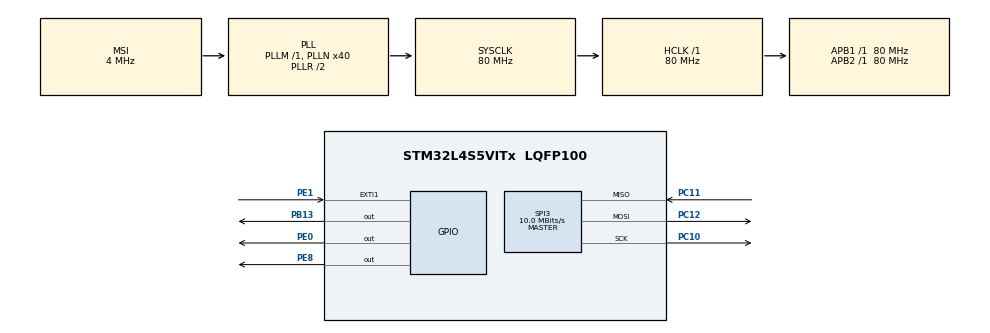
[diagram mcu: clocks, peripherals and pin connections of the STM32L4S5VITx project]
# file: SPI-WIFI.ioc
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Mcu.Family=STM32L4
Mcu.Name=STM32L4S5VITx
Mcu.Package=LQFP100
NVIC.EXTI1_IRQn=true\:0\:0\:false\:false\:true\:true\:true\:true
NVIC.PriorityGroup=NVIC_PRIORITYGROUP_4
NVIC.SPI3_IRQn=true\:0\:0\:false\:false\:true\:true\:true\:true
PB13.Signal=GPIO_Output
PC10.Mode=Full_Duplex_Master
PC10.Signal=SPI3_SCK
PC11.Mode=Full_Duplex_Master
PC11.Signal=SPI3_MISO
PC12.Mode=Full_Duplex_Master
PC12.Signal=SPI3_MOSI
PE0.Signal=GPIO_Output
PE1.Signal=GPXTI1
PE8.Signal=GPIO_Output
ProjectManager.HeapSize=0x200
ProjectManager.StackSize=0x400
ProjectManager.TargetToolchain=STM32CubeIDE
RCC.ADCFreq_Value=48000000
RCC.AHBFreq_Value=80000000
RCC.APB1Freq_Value=80000000
RCC.APB1TimFreq_Value=80000000
RCC.APB2Freq_Value=80000000
RCC.APB2TimFreq_Value=80000000
RCC.CortexFreq_Value=80000000
RCC.HCLKFreq_Value=80000000
RCC.HSE_VALUE=8000000
RCC.HSI48_VALUE=48000000
RCC.HSI_VALUE=16000000
RCC.MSI_VALUE=4000000
RCC.PLLN=40
RCC.PLLSAI1N=24
RCC.SYSCLKFreq_VALUE=80000000
RCC.SYSCLKSource=RCC_SYSCLKSOURCE_PLLCLK
RCC.USBFreq_Value=48000000
RCC.VCOOutputFreq_Value=160000000
SPI3.BaudRatePrescaler=SPI_BAUDRATEPRESCALER_8
SPI3.CalculateBaudRate=10.0 MBits/s
SPI3.DataSize=SPI_DATASIZE_16BIT
SPI3.Direction=SPI_DIRECTION_2LINES
SPI3.Mode=SPI_MODE_MASTER
SPI3.VirtualType=VM_MASTER
board=B-L4S5I-IOT01A

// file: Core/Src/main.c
/* USER CODE BEGIN Header */
/**
  ******************************************************************************
  * @file           : main.c
  * @brief          : Main program body
  ******************************************************************************
  * @attention
  *
  * Copyright (c) 2026 STMicroelectronics.
  * All rights reserved.
  *
  * This software is licensed under terms that can be found in the LICENSE file
  * in the root directory of this software component.
  * If no LICENSE file comes with this software, it is provided AS-IS.
  *
  ******************************************************************************
  */
/* USER CODE END Header */
#include "main.h"

/* USER CODE BEGIN Includes */
#include "es_wifi.h"
#include "es_wifi_io.h"

/* USER CODE END Includes */

/* USER CODE BEGIN PTD */
ES_WIFI_Status_t status;
ES_WIFIObject_t WiFiObj;

/* USER CODE END PTD */

/* USER CODE BEGIN PD */
#define WIFI_SSID       "Galaxy"
#define WIFI_PASSWORD   "1234567890"
/* USER CODE END PD */

/* USER CODE BEGIN PM */
static void PrintNetworkSettings(void)
{
    printf("\r\n");
    printf("========================================\r\n");
    printf("        NETWORK SETTINGS\r\n");
    printf("========================================\r\n");

    printf("IP Address : %d.%d.%d.%d\r\n",
           WiFiObj.NetSettings.IP_Addr[0],
           WiFiObj.NetSettings.IP_Addr[1],
           WiFiObj.NetSettings.IP_Addr[2],
           WiFiObj.NetSettings.IP_Addr[3]);

    printf("Subnet Mask: %d.%d.%d.%d\r\n",
           WiFiObj.NetSettings.IP_Mask[0],
           WiFiObj.NetSettings.IP_Mask[1],
           WiFiObj.NetSettings.IP_Mask[2],
           WiFiObj.NetSettings.IP_Mask[3]);

    printf("Gateway    : %d.%d.%d.%d\r\n",
           WiFiObj.NetSettings.Gateway_Addr[0],
           WiFiObj.NetSettings.Gateway_Addr[1],
           WiFiObj.NetSettings.Gateway_Addr[2],
           WiFiObj.NetSettings.Gateway_Addr[3]);

    printf("DNS1       : %d.%d.%d.%d\r\n",
           WiFiObj.NetSettings.DNS1[0],
           WiFiObj.NetSettings.DNS1[1],
           WiFiObj.NetSettings.DNS1[2],
           WiFiObj.NetSettings.DNS1[3]);

    printf("========================================\r\n");
}
/* USER CODE END PM */

SPI_HandleTypeDef hspi3;

void SystemClock_Config(void);
static void MX_GPIO_Init(void);
static void MX_SPI3_Init(void);
/* USER CODE BEGIN PFP */
int __io_putchar(int ch)
{
    ITM_SendChar(ch);
    return ch;
}
/* USER CODE END PFP */

int main(void)
{

  /* MCU Configuration--------------------------------------------------------*/

  /* Reset of all peripherals, Initializes the Flash interface and the Systick. */
  HAL_Init();

  /* Configure the system clock */
  SystemClock_Config();

  /* Initialize all configured peripherals */

  MX_SPI3_Init();
  /* USER CODE BEGIN 2 */
  MX_GPIO_Init();

  printf("\r\n");

      /* =========================================================
         STEP 1
         Register low-level SPI/GPIO interface
         ========================================================= */

      ES_WIFI_Status_t status;

      status = ES_WIFI_RegisterBusIO(
                  &WiFiObj,
                  SPI_WIFI_Init,
                  SPI_WIFI_DeInit,
                  SPI_WIFI_Delay,
                  SPI_WIFI_SendData,
                  SPI_WIFI_ReceiveData
               );

      if (status != ES_WIFI_STATUS_OK)
      {
          printf("ERROR: ES_WIFI_RegisterBusIO failed\r\n");

          while (1)
          {
          }
      }

      printf("Bus interface registered\r\n");

      /* =========================================================
         STEP 2
         Initialize ISM43362
         ========================================================= */

      status = ES_WIFI_Init(&WiFiObj);

      if (status != ES_WIFI_STATUS_OK)
      {
          printf("ERROR: ES_WIFI_Init failed\r\n");

          while (1)
          {
          }
      }

      printf("ES_WIFI_Init SUCCESS\r\n");

      /* =========================================================
         STEP 3
         Scan Wi-Fi networks
         ========================================================= */

      ES_WIFI_APs_t APs;

      memset(&APs, 0, sizeof(APs));

      printf("\r\nScanning Wi-Fi networks...\r\n");

      status = ES_WIFI_ListAccessPoints(
                  &WiFiObj,
                  &APs
               );

      if (status != ES_WIFI_STATUS_OK)
      {
          printf("ERROR: Wi-Fi scan failed\r\n");

          while (1)
          {
          }
      }

      /* =========================================================
         STEP 4
         Print discovered APs
         ========================================================= */

      printf("\r\nWi-Fi scan SUCCESS\r\n");

      printf("APs found: %d\r\n\r\n", APs.nbr);

      for (uint8_t i = 0; i < APs.nbr; i++)
      {
          printf(
              "[%d] SSID: %s\r\n",
              i + 1,
              APs.AP[i].SSID
          );

          printf(
              "    RSSI: %d dBm\r\n",
              APs.AP[i].RSSI
          );

          printf(
              "    Channel: %d\r\n",
              APs.AP[i].Channel
          );

          printf(
              "    Security: %d\r\n",
              APs.AP[i].Security
          );

          printf("\r\n");
      }

      printf("\r\nConnecting to: %s\r\n", WIFI_SSID);

          status = ES_WIFI_Connect(
                      &WiFiObj,
                      WIFI_SSID,
                      WIFI_PASSWORD,
                      ES_WIFI_SEC_WPA2
                   );

          if (status != ES_WIFI_STATUS_OK)
          {
              printf("Wi-Fi CONNECTION FAILED\r\n");

              while (1);
          }

          printf("Wi-Fi CONNECT command SUCCESS\r\n");

          /* =====================================================
             5. Verify connection
             ===================================================== */

          if (ES_WIFI_IsConnected(&WiFiObj))
          {
              printf("Wi-Fi CONNECTED!\r\n");
          }
          else
          {
              printf("Wi-Fi NOT CONNECTED\r\n");

              while (1);
          }

          printf("\r\nGetting DHCP/network information...\r\n");

          status = ES_WIFI_GetNetworkSettings(&WiFiObj);

          if (status != ES_WIFI_STATUS_OK)
          {
              printf("ERROR: GetNetworkSettings failed\r\n");

              while (1);
          }

          printf("Network settings obtained\r\n");

          PrintNetworkSettings();

          /* ============================================
             VERIFY IP ADDRESS
             ============================================ */

          uint8_t ipaddr[4];

          status = ES_WIFI_GetIPAddress(
                      &WiFiObj,
                      ipaddr,
                      sizeof(ipaddr)
                   );

          if (status != ES_WIFI_STATUS_OK)
          {
              printf("ERROR: GetIPAddress failed\r\n");

              while (1);
          }

          printf("\r\nIP Address verification:\r\n");

          printf("%d.%d.%d.%d\r\n",
                 ipaddr[0],
                 ipaddr[1],
                 ipaddr[2],
                 ipaddr[3]);

          /* ============================================================
             MILESTONE 4 - TCP CLIENT
             ============================================================ */

          printf("\r\n");
          printf("========================================\r\n");
          printf("          MILESTONE 4 - TCP\r\n");
          printf("========================================\r\n");

          /* Laptop IP address */
          uint8_t server_ip[4] =
          {
              10,
              80,
              70,
              214
          };

          /* ------------------------------------------------------------
             Create TCP connection
             ------------------------------------------------------------ */

          ES_WIFI_Conn_t http_conn;

          memset(&http_conn, 0, sizeof(http_conn));

          http_conn.Type = ES_WIFI_TCP_CONNECTION;

          http_conn.TLScheckMode = ES_WIFI_TLS_CHECK_NOTHING;

          http_conn.Number = 0;

          http_conn.RemoteIP[0] = server_ip[0];
          http_conn.RemoteIP[1] = server_ip[1];
          http_conn.RemoteIP[2] = server_ip[2];
          http_conn.RemoteIP[3] = server_ip[3];

          http_conn.RemotePort = 8080;

          http_conn.LocalPort = 0;

          http_conn.Name = NULL;

          http_conn.Backlog = 0;

          printf(
              "Connecting to HTTP server %d.%d.%d.%d:%d\r\n",
              http_conn.RemoteIP[0],
              http_conn.RemoteIP[1],
              http_conn.RemoteIP[2],
              http_conn.RemoteIP[3],
              http_conn.RemotePort
          );

          /* ============================================================
             Start TCP connection
             ============================================================ */

          status = ES_WIFI_StartClientConnection(
                      &WiFiObj,
                      &http_conn
                   );

          if (status != ES_WIFI_STATUS_OK)
          {
              printf("TCP CONNECTION FAILED\r\n");

              while (1);
          }

          printf("TCP CONNECTION SUCCESS\r\n");

          /* ============================================================
             SEND DATA
             ============================================================ */

          char http_request[] =
              "GET / HTTP/1.1\r\n"
              "Host: 10.80.70.214\r\n"
              "Connection: close\r\n"
              "\r\n";

          uint16_t sent_len = 0;

          printf("\r\nSending HTTP GET...\r\n");

          printf("----------------------------------------\r\n");
          printf("%s", http_request);
          printf("----------------------------------------\r\n");

          status = ES_WIFI_SendData(
                      &WiFiObj,
                      http_conn.Number,
                      (uint8_t *)http_request,
                      strlen(http_request),
                      &sent_len,
                      5000
                   );

          if (status != ES_WIFI_STATUS_OK)
          {
              printf("HTTP REQUEST FAILED\r\n");

              while (1);
          }

          printf("HTTP REQUEST SENT\r\n");
          printf("Bytes sent: %d\r\n", sent_len);

          /* ------------------------------------------------------------
             RECEIVE HTTP RESPONSE
             ------------------------------------------------------------ */

          uint8_t rx_buffer[512];
          uint16_t received_len = 0;

          memset(rx_buffer, 0, sizeof(rx_buffer));

          printf("\r\nWaiting for HTTP response...\r\n");

          status = ES_WIFI_ReceiveData(
                      &WiFiObj,
                      http_conn.Number,
                      rx_buffer,
                      sizeof(rx_buffer) - 1,
                      &received_len,
                      10000
                   );

          printf("Receive status = %d\r\n", status);
          printf("Received length = %d\r\n", received_len);

          if (status == ES_WIFI_STATUS_OK)
          {
              rx_buffer[received_len] = '\0';

              printf("\r\n========== HTTP RESPONSE ==========\r\n");
              printf("%s\r\n", rx_buffer);
              printf("===================================\r\n");
          }
          else
          {
              printf("HTTP RESPONSE FAILED\r\n");
          }

          /* ------------------------------------------------------------
             CLOSE TCP CONNECTION
             ------------------------------------------------------------ */

          status = ES_WIFI_StopClientConnection(
                      &WiFiObj,
                      &http_conn
                   );

          if (status == ES_WIFI_STATUS_OK)
          {
              printf("HTTP TCP connection closed\r\n");
          }

          printf("\r\n");
          printf("========================================\r\n");
          printf("       MILESTONE 5 COMPLETE\r\n");
          printf("========================================\r\n");
  /* USER CODE END 2 */

  /* Infinite loop */
  while (1)
  {

  }
}

void SystemClock_Config(void)
{
  RCC_OscInitTypeDef RCC_OscInitStruct = {0};
  RCC_ClkInitTypeDef RCC_ClkInitStruct = {0};

  /** Configure the main internal regulator output voltage
  */
  if (HAL_PWREx_ControlVoltageScaling(PWR_REGULATOR_VOLTAGE_SCALE1) != HAL_OK)
  {
    Error_Handler();
  }

  /** Initializes the RCC Oscillators according to the specified parameters
  * in the RCC_OscInitTypeDef structure.
  */
  RCC_OscInitStruct.OscillatorType = RCC_OSCILLATORTYPE_MSI;
  RCC_OscInitStruct.MSIState = RCC_MSI_ON;
  RCC_OscInitStruct.MSICalibrationValue = 0;
  RCC_OscInitStruct.MSIClockRange = RCC_MSIRANGE_6;
  RCC_OscInitStruct.PLL.PLLState = RCC_PLL_ON;
  RCC_OscInitStruct.PLL.PLLSource = RCC_PLLSOURCE_MSI;
  RCC_OscInitStruct.PLL.PLLM = 1;
  RCC_OscInitStruct.PLL.PLLN = 40;
  RCC_OscInitStruct.PLL.PLLP = RCC_PLLP_DIV2;
  RCC_OscInitStruct.PLL.PLLQ = RCC_PLLQ_DIV2;
  RCC_OscInitStruct.PLL.PLLR = RCC_PLLR_DIV2;
  if (HAL_RCC_OscConfig(&RCC_OscInitStruct) != HAL_OK)
  {
    Error_Handler();
  }

  /** Initializes the CPU, AHB and APB buses clocks
  */
  RCC_ClkInitStruct.ClockType = RCC_CLOCKTYPE_HCLK|RCC_CLOCKTYPE_SYSCLK
                              |RCC_CLOCKTYPE_PCLK1|RCC_CLOCKTYPE_PCLK2;
  RCC_ClkInitStruct.SYSCLKSource = RCC_SYSCLKSOURCE_PLLCLK;
  RCC_ClkInitStruct.AHBCLKDivider = RCC_SYSCLK_DIV1;
  RCC_ClkInitStruct.APB1CLKDivider = RCC_HCLK_DIV1;
  RCC_ClkInitStruct.APB2CLKDivider = RCC_HCLK_DIV1;

  if (HAL_RCC_ClockConfig(&RCC_ClkInitStruct, FLASH_LATENCY_3) != HAL_OK)
  {
    Error_Handler();
  }
}

static void MX_SPI3_Init(void)
{

  /* SPI3 parameter configuration*/
  hspi3.Instance = SPI3;
  hspi3.Init.Mode = SPI_MODE_MASTER;
  hspi3.Init.Direction = SPI_DIRECTION_2LINES;
  hspi3.Init.DataSize = SPI_DATASIZE_16BIT;
  hspi3.Init.CLKPolarity = SPI_POLARITY_LOW;
  hspi3.Init.CLKPhase = SPI_PHASE_1EDGE;
  hspi3.Init.NSS = SPI_NSS_SOFT;
  hspi3.Init.BaudRatePrescaler = SPI_BAUDRATEPRESCALER_8;
  hspi3.Init.FirstBit = SPI_FIRSTBIT_MSB;
  hspi3.Init.TIMode = SPI_TIMODE_DISABLE;
  hspi3.Init.CRCCalculation = SPI_CRCCALCULATION_DISABLE;
  hspi3.Init.CRCPolynomial = 7;
  hspi3.Init.CRCLength = SPI_CRC_LENGTH_DATASIZE;
  hspi3.Init.NSSPMode = SPI_NSS_PULSE_ENABLE;
  if (HAL_SPI_Init(&hspi3) != HAL_OK)
  {
    Error_Handler();
  }

}

static void MX_GPIO_Init(void)
{
  GPIO_InitTypeDef GPIO_InitStruct = {0};

  /* GPIO Ports Clock Enable */
  __HAL_RCC_GPIOE_CLK_ENABLE();
  __HAL_RCC_GPIOB_CLK_ENABLE();
  __HAL_RCC_GPIOC_CLK_ENABLE();

  /*Configure GPIO pin Output Level */
  HAL_GPIO_WritePin(GPIOE, GPIO_PIN_8|GPIO_PIN_0, GPIO_PIN_RESET);

  /*Configure GPIO pin Output Level */
  HAL_GPIO_WritePin(GPIOB, GPIO_PIN_13, GPIO_PIN_RESET);

  /*Configure GPIO pins : PE8 PE0 */
  GPIO_InitStruct.Pin = GPIO_PIN_8|GPIO_PIN_0;
  GPIO_InitStruct.Mode = GPIO_MODE_OUTPUT_PP;
  GPIO_InitStruct.Pull = GPIO_NOPULL;
  GPIO_InitStruct.Speed = GPIO_SPEED_FREQ_LOW;
  HAL_GPIO_Init(GPIOE, &GPIO_InitStruct);

  /*Configure GPIO pin : PB13 */
  GPIO_InitStruct.Pin = GPIO_PIN_13;
  GPIO_InitStruct.Mode = GPIO_MODE_OUTPUT_PP;
  GPIO_InitStruct.Pull = GPIO_NOPULL;
  GPIO_InitStruct.Speed = GPIO_SPEED_FREQ_LOW;
  HAL_GPIO_Init(GPIOB, &GPIO_InitStruct);

  /*Configure GPIO pin : PE1 */
  GPIO_InitStruct.Pin = GPIO_PIN_1;
  GPIO_InitStruct.Mode = GPIO_MODE_IT_RISING;
  GPIO_InitStruct.Pull = GPIO_NOPULL;
  HAL_GPIO_Init(GPIOE, &GPIO_InitStruct);

  /* EXTI interrupt init*/
  HAL_NVIC_SetPriority(EXTI1_IRQn, 0, 0);
  HAL_NVIC_EnableIRQ(EXTI1_IRQn);

}

void Error_Handler(void)
{
  __disable_irq();
  while (1)
  {
  }
}
